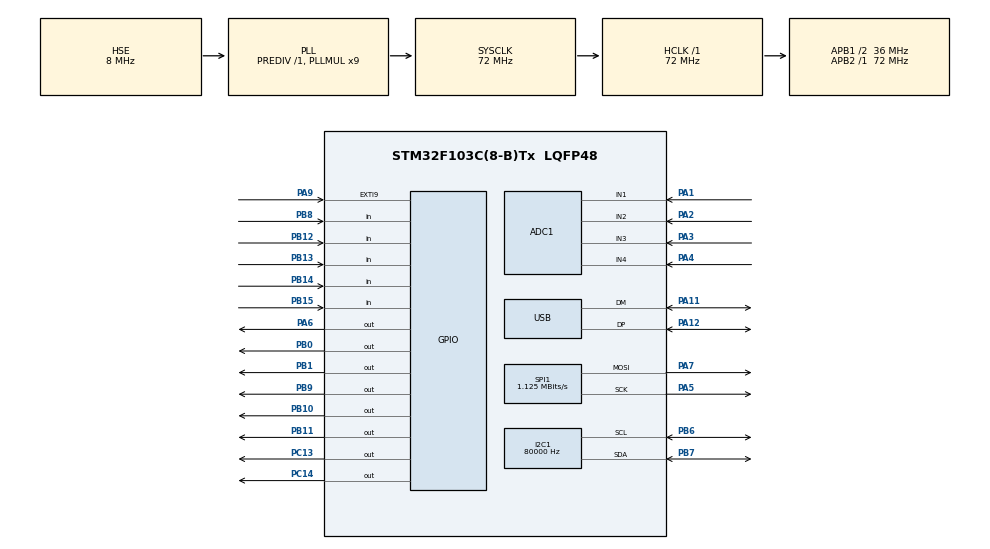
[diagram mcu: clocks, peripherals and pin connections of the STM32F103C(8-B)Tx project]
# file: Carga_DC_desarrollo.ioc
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ADC1.Channel-4\#ChannelRegularConversion=ADC_CHANNEL_1
ADC1.Channel-5\#ChannelRegularConversion=ADC_CHANNEL_2
ADC1.Channel-6\#ChannelRegularConversion=ADC_CHANNEL_3
ADC1.Channel-7\#ChannelRegularConversion=ADC_CHANNEL_4
ADC1.ContinuousConvMode=ENABLE
ADC1.NbrOfConversion=4
ADC1.NbrOfConversionFlag=1
ADC1.Rank-4\#ChannelRegularConversion=1
ADC1.Rank-5\#ChannelRegularConversion=2
ADC1.Rank-6\#ChannelRegularConversion=3
ADC1.Rank-7\#ChannelRegularConversion=4
ADC1.SamplingTime-4\#ChannelRegularConversion=ADC_SAMPLETIME_1CYCLE_5
ADC1.SamplingTime-5\#ChannelRegularConversion=ADC_SAMPLETIME_1CYCLE_5
ADC1.SamplingTime-6\#ChannelRegularConversion=ADC_SAMPLETIME_1CYCLE_5
ADC1.SamplingTime-7\#ChannelRegularConversion=ADC_SAMPLETIME_1CYCLE_5
ADC1.master=1
Dma.ADC1.0.Direction=DMA_PERIPH_TO_MEMORY
Dma.ADC1.0.Instance=DMA1_Channel1
Dma.ADC1.0.MemDataAlignment=DMA_MDATAALIGN_WORD
Dma.ADC1.0.MemInc=DMA_MINC_ENABLE
Dma.ADC1.0.Mode=DMA_CIRCULAR
Dma.ADC1.0.PeriphDataAlignment=DMA_PDATAALIGN_WORD
Dma.ADC1.0.PeriphInc=DMA_PINC_DISABLE
Dma.ADC1.0.Priority=DMA_PRIORITY_LOW
Dma.Request0=ADC1
I2C1.ClockSpeed=80000
Mcu.Family=STM32F1
Mcu.Name=STM32F103C(8-B)Tx
Mcu.Package=LQFP48
NVIC.EXTI9_5_IRQn=true\:0\:0\:false\:false\:true\:true\:true\:true
NVIC.PriorityGroup=NVIC_PRIORITYGROUP_4
NVIC.TIM2_IRQn=true\:0\:0\:false\:false\:true\:true\:true\:true
NVIC.TIM3_IRQn=true\:0\:0\:false\:false\:true\:true\:true\:true
NVIC.USB_LP_CAN1_RX0_IRQn=true\:0\:0\:false\:false\:true\:false\:true\:true
PA1.Signal=ADCx_IN1
PA11.Mode=Device
PA11.Signal=USB_DM
PA12.Mode=Device
PA12.Signal=USB_DP
PA13.Mode=Serial_Wire
PA13.Signal=SYS_JTMS-SWDIO
PA14.Mode=Serial_Wire
PA14.Signal=SYS_JTCK-SWCLK
PA2.Signal=ADCx_IN2
PA3.Signal=ADCx_IN3
PA4.Signal=ADCx_IN4
PA5.Mode=TX_Only_Simplex_Unidirect_Master
PA5.Signal=SPI1_SCK
PA6.Signal=GPIO_Output
PA7.Mode=TX_Only_Simplex_Unidirect_Master
PA7.Signal=SPI1_MOSI
PA9.GPIO_ModeDefaultEXTI=GPIO_MODE_IT_FALLING
PA9.Signal=GPXTI9
PB0.Signal=GPIO_Output
PB1.Signal=GPIO_Output
PB10.Signal=GPIO_Output
PB11.Signal=GPIO_Output
PB12.Signal=GPIO_Input
PB13.Signal=GPIO_Input
PB14.Signal=GPIO_Input
PB15.Signal=GPIO_Input
PB6.Mode=I2C
PB6.Signal=I2C1_SCL
PB7.Mode=I2C
PB7.Signal=I2C1_SDA
PB8.Signal=GPIO_Input
PB9.Signal=GPIO_Output
PC13-TAMPER-RTC.Signal=GPIO_Output
PC14-OSC32_IN.Signal=GPIO_Output
PD0-OSC_IN.Mode=HSE-External-Oscillator
PD0-OSC_IN.Signal=RCC_OSC_IN
PD1-OSC_OUT.Mode=HSE-External-Oscillator
PD1-OSC_OUT.Signal=RCC_OSC_OUT
ProjectManager.HeapSize=0x200
ProjectManager.StackSize=0x400
ProjectManager.TargetToolchain=STM32CubeIDE
RCC.ADCPresc=RCC_ADCPCLK2_DIV8
RCC.AHBFreq_Value=72000000
RCC.APB1CLKDivider=RCC_HCLK_DIV2
RCC.APB1Freq_Value=36000000
RCC.APB1TimFreq_Value=72000000
RCC.APB2Freq_Value=72000000
RCC.APB2TimFreq_Value=72000000
RCC.HCLKFreq_Value=72000000
RCC.PLLMUL=RCC_PLL_MUL9
RCC.PLLSourceVirtual=RCC_PLLSOURCE_HSE
RCC.SYSCLKFreq_VALUE=72000000
RCC.SYSCLKSource=RCC_SYSCLKSOURCE_PLLCLK
RCC.USBFreq_Value=48000000
RCC.USBPrescaler=RCC_USBCLKSOURCE_PLL_DIV1_5
SH.ADCx_IN1.0=ADC1_IN1,IN1
SH.ADCx_IN2.0=ADC1_IN2,IN2
SH.ADCx_IN3.0=ADC1_IN3,IN3
SH.ADCx_IN4.0=ADC1_IN4,IN4
SPI1.BaudRatePrescaler=SPI_BAUDRATEPRESCALER_64
SPI1.CalculateBaudRate=1.125 MBits/s
SPI1.DataSize=SPI_DATASIZE_16BIT
SPI1.Direction=SPI_DIRECTION_2LINES
SPI1.Mode=SPI_MODE_MASTER
SPI1.VirtualType=VM_MASTER
TIM2.AutoReloadPreload=TIM_AUTORELOAD_PRELOAD_ENABLE
TIM2.Period=2999
TIM2.Prescaler=7199
TIM3.AutoReloadPreload=TIM_AUTORELOAD_PRELOAD_ENABLE
TIM3.Period=1499
TIM3.Prescaler=7199
USB_DEVICE.CLASS_NAME_FS=CDC
USB_DEVICE.VirtualMode=Cdc
USB_DEVICE.VirtualModeFS=Cdc_FS
VP_TIM2_VS_ClockSourceINT.Mode=Internal
VP_TIM3_VS_ClockSourceINT.Mode=Internal
VP_USB_DEVICE_VS_USB_DEVICE_CDC_FS.Mode=CDC_FS
board=custom

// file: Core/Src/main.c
/* USER CODE BEGIN Header */
/**
  ******************************************************************************
  * @file           : main.c
  * @brief          : Main program body
  ******************************************************************************
  * @attention
  *
  * Copyright (c) 2023 STMicroelectronics.
  * All rights reserved.
  *
  * This software is licensed under terms that can be found in the LICENSE file
  * in the root directory of this software component.
  * If no LICENSE file comes with this software, it is provided AS-IS.
  *
  ******************************************************************************
  */
/* USER CODE END Header */
#include "main.h"
#include "usb_device.h"

/* USER CODE BEGIN Includes */
#include "stdio.h"
#include "stdlib.h"
#include "string.h"
#include "LCD_I2C.h"
#include "keypad_lib.h"
#include "usbd_cdc_if.h"
/* USER CODE END Includes */

/* USER CODE BEGIN PD */
#define BUFFER_SIZE_input 4
#define TC74_ADDRESS 0x90//direccion og.48 moviendo un bit 90
//
#define N_TRANSISTORES 4
#define I_MAX_x_TRANSISTOR 500 // 500 -> 5000mA
//ctes mediciones
#define FACTOR_ADC_VOLTAGE_mult 12127
#define FACTOR_ADC_VOLTAGE_div 10000
#define OFFSET_ADC_VOLTAGE_low 95
#define FACTOR_ADC_30A_CURRENT_mult 83072//8437
#define FACTOR_ADC_30A_CURRENT_div 100000
#define OFFSET_30A 7
#define FACTOR_ADC_5A_CURRENT_mult 1305
#define FACTOR_ADC_5A_CURRENT_div 10000
#define OFFSET_5A_restar 100//534
//limites de operacion
#define LIM_HAL_SENSOR_5A 3500
#define LIM_inf_Voltage 100	//01.00V
#define LIM_sup_Voltage 5000// 50.00V
#define LIM_inf_Current 20	// 00.20A
#define LIM_sup_Current 2000// 20.00A
#define LIM_sup_Pot 1500 	//150.0W
#define LIM_inf_Res 10 		//00.10 ohm
#define LIM_temp 55
/* USER CODE END PD */

ADC_HandleTypeDef hadc1;
DMA_HandleTypeDef hdma_adc1;

I2C_HandleTypeDef hi2c1;

SPI_HandleTypeDef hspi1;

TIM_HandleTypeDef htim2;
TIM_HandleTypeDef htim3;

/* USER CODE BEGIN PV */

uint32_t current_tim = 0;
uint32_t last_tim = 0;
uint8_t flag_on_off = 0;		//bandera de conectar el dispositivo
uint8_t flag_config = 0;
uint8_t flag_update_display_1_seg = 0;
uint8_t flag_update_loop_control = 0;//
uint8_t flag_error = 0;
uint8_t cont_timer_update = 0;
uint32_t input_adc[4];
uint32_t adc2use[2];
uint8_t buffer_usb[64];
char str[30]="";
char input_keypad = 0;

//char char_as_str[];// = {input_keypad, '\0'};//char mensaje[];
char buffer[20]="input key ";
/* USER CODE END PV */

void SystemClock_Config(void);
static void MX_GPIO_Init(void);
static void MX_DMA_Init(void);
static void MX_ADC1_Init(void);
static void MX_I2C1_Init(void);
static void MX_TIM2_Init(void);
static void MX_SPI1_Init(void);
static void MX_TIM3_Init(void);
/* USER CODE BEGIN PFP */
void agregar_digito(char *buffer, char digito);
void borrar_ultimo_digito(char *buffer);
void display_update_conf(char modo_op,char *dato);
void display_update_stat(char modo_op, char *dato, uint32_t volt);
void display_update_running(char modo_op,uint32_t volt, uint32_t corriente);
void display_update_running_usb(char modo_op,uint32_t volt, uint32_t corriente);
void enviar_spi_dac(uint16_t dato);
void validar_ADC();
void detectar_error(uint32_t voltage, uint32_t current);
void print_error(uint8_t error_id);
void modo_usb();
uint16_t validar_input(char mode, int val);
uint16_t leer_temperatura(void);
uint16_t control_carga(char modo, uint16_t voltage, uint16_t current, uint16_t set_point);
/* USER CODE END PFP */

int main(void)
{

  /* MCU Configuration--------------------------------------------------------*/

  /* Reset of all peripherals, Initializes the Flash interface and the Systick. */
  HAL_Init();

  /* Configure the system clock */
  SystemClock_Config();

  /* Initialize all configured peripherals */
  MX_GPIO_Init();
  MX_DMA_Init();
  MX_ADC1_Init();
  MX_I2C1_Init();
  MX_TIM2_Init();
  MX_SPI1_Init();
  MX_TIM3_Init();
  MX_USB_DEVICE_Init();
  /* USER CODE BEGIN 2 */
  enviar_spi_dac(0);
  keypad_init();
  HAL_Delay(10);
  LCD_I2C_init();

	//esto podria estar encapsulado
  	  LCD_I2C_cmd(LCD_LINEA1);
	  LCD_I2C_write_text("   UTN FRP   ");
	  LCD_I2C_cmd(LCD_LINEA2);
	  LCD_I2C_write_text("   Carga DC   ");
	  LCD_I2C_cmd(LCD_LINEA4);
	  LCD_I2C_write_text("   A.Gotte/A.Jose   ");
	  HAL_Delay(4000);
	  LCD_I2C_cmd(LCD_CLEAR);

  HAL_TIM_Base_Start_IT(&htim2);
  HAL_TIM_Base_Start_IT(&htim3);
  HAL_ADC_Start_DMA(&hadc1, input_adc, 4);//cuelga el programa
  //HAL_ADCEx_Calibration_Start(&hadc1);
  //HAL_ADCEx_Calibration_Start(&hadc2);

	//se deberia hacer un POST

  char modo_carga = 'C';
  char input_valor[5]="";
  //char buffer_val[20]="val:  NNNN [utm]";

  uint8_t cont_digitos_input_val = 0;
  uint8_t flag_update_display = 0;
  uint16_t control_spi = 0;
  uint16_t set_point = 0;
  //uint16_t temperatura_sensor = 0;
  enviar_spi_dac(control_spi);

  /* USER CODE END 2 */

  /* Infinite loop */
  /* USER CODE BEGIN WHILE */
while (1)
{
//update display modo stand by
	  if(flag_update_display_1_seg){
		  display_update_stat(modo_carga,input_valor,adc2use[0]);
		  flag_update_display_1_seg=0;
	  }
//entra a modo usb
	  if(input_keypad=='U'){
		  LCD_I2C_cmd(LCD_CLEAR);
		  sprintf(str, "$USB#\n");
		  memset(buffer_usb, '\0',64);
		  CDC_Transmit_FS((uint8_t*) str, strlen(str));

		  HAL_Delay(500);
		  if(buffer_usb[0]=='$' && buffer_usb[1]=='O' && buffer_usb[2]=='K' && buffer_usb[3]=='#'){//si responde la pc, entra al bucle
			  modo_usb();
		  }
		 input_keypad=0;
	  }
//entra a modo config
	  if(tipo_dato(input_keypad)==2){//tipo_dato()=2 si input es C,P,R
		  //ingresa a la configuracion de modo
		  flag_config=1;

		  while(flag_config){
			  if(tipo_dato(input_keypad)==1 && cont_digitos_input_val<4){//tipo_dato()=1 si input es >=0 y <=9
				  agregar_digito(input_valor, input_keypad);
				  input_keypad=0;
				  cont_digitos_input_val++;
				  flag_update_display=1;
			  }
			  else if(input_keypad=='D'&&cont_digitos_input_val>0){
				  borrar_ultimo_digito(input_valor);
				  input_keypad=0;
				  cont_digitos_input_val--;
				  flag_update_display=1;
			  }
			  else if(input_keypad=='K'){
				  input_keypad=0;
				  //validar parametro ingresado
				  if(validar_input(modo_carga,atoi(input_valor))==1){
					  set_point=atoi(input_valor);
					  flag_config=0;//sale del while y vuelve al super loop
					  flag_update_display_1_seg=1;
				  }
				  else{
					  //display error
					  LCD_I2C_cmd(LCD_CLEAR);
					  LCD_I2C_cmd(LCD_LINEA2);
					  LCD_I2C_write_text("   Configuracion   ");
					  LCD_I2C_cmd(LCD_LINEA3);
					  LCD_I2C_write_text("      Invalida      ");
					  HAL_Delay(3000);
					  flag_update_display=1;
				  }
			  }
			  else if(tipo_dato(input_keypad)==2){
				  modo_carga=input_keypad;//guardar el modo que se selecciono
				  input_keypad=0;
				  //borrar buffer
				  flag_update_display=1;
			  }
		  if(flag_update_display){
			  display_update_conf(modo_carga,input_valor);
			  flag_update_display=0;
		  }
		}//fin while config
	  }//fin if config
// entra a modo running
	  if(flag_on_off){
		  //setting del modo de trabajo
		  //flag_update_display_1_seg=1;
		  while(flag_on_off){
			  if(flag_update_loop_control){
				 control_spi=control_carga(modo_carga,adc2use[0],adc2use[1],set_point);
				 enviar_spi_dac(control_spi);
				 flag_update_loop_control=0;
			  }
			  if(flag_update_display_1_seg){
				  display_update_running(modo_carga,adc2use[0],adc2use[1]);
				  flag_update_display_1_seg=0;
				  }
			  if(flag_error!=0){
				  	flag_on_off=0;
			  		enviar_spi_dac(0);//setear el dac a 0
			  		input_keypad = 0;
			  		print_error(flag_error);
			  		while(flag_error!=0){//wait for 'K'
			  			if(input_keypad=='K'){
			  				flag_error=0;
			  			}
			  		}

			  	}
		  }//fin while flag_on_off
		  //configuracion post carga activa
		  input_keypad=0;
		  control_spi=0;
		  //flag_update_display_1_seg=1;
		  enviar_spi_dac(control_spi);
	  }//fin if flag_on_off

    /* USER CODE END WHILE */

  }
}

void SystemClock_Config(void)
{
  RCC_OscInitTypeDef RCC_OscInitStruct = {0};
  RCC_ClkInitTypeDef RCC_ClkInitStruct = {0};
  RCC_PeriphCLKInitTypeDef PeriphClkInit = {0};

  /** Initializes the RCC Oscillators according to the specified parameters
  * in the RCC_OscInitTypeDef structure.
  */
  RCC_OscInitStruct.OscillatorType = RCC_OSCILLATORTYPE_HSE;
  RCC_OscInitStruct.HSEState = RCC_HSE_ON;
  RCC_OscInitStruct.HSEPredivValue = RCC_HSE_PREDIV_DIV1;
  RCC_OscInitStruct.HSIState = RCC_HSI_ON;
  RCC_OscInitStruct.PLL.PLLState = RCC_PLL_ON;
  RCC_OscInitStruct.PLL.PLLSource = RCC_PLLSOURCE_HSE;
  RCC_OscInitStruct.PLL.PLLMUL = RCC_PLL_MUL9;
  if (HAL_RCC_OscConfig(&RCC_OscInitStruct) != HAL_OK)
  {
    Error_Handler();
  }

  /** Initializes the CPU, AHB and APB buses clocks
  */
  RCC_ClkInitStruct.ClockType = RCC_CLOCKTYPE_HCLK|RCC_CLOCKTYPE_SYSCLK
                              |RCC_CLOCKTYPE_PCLK1|RCC_CLOCKTYPE_PCLK2;
  RCC_ClkInitStruct.SYSCLKSource = RCC_SYSCLKSOURCE_PLLCLK;
  RCC_ClkInitStruct.AHBCLKDivider = RCC_SYSCLK_DIV1;
  RCC_ClkInitStruct.APB1CLKDivider = RCC_HCLK_DIV2;
  RCC_ClkInitStruct.APB2CLKDivider = RCC_HCLK_DIV1;

  if (HAL_RCC_ClockConfig(&RCC_ClkInitStruct, FLASH_LATENCY_2) != HAL_OK)
  {
    Error_Handler();
  }
  PeriphClkInit.PeriphClockSelection = RCC_PERIPHCLK_ADC|RCC_PERIPHCLK_USB;
  PeriphClkInit.AdcClockSelection = RCC_ADCPCLK2_DIV8;
  PeriphClkInit.UsbClockSelection = RCC_USBCLKSOURCE_PLL_DIV1_5;
  if (HAL_RCCEx_PeriphCLKConfig(&PeriphClkInit) != HAL_OK)
  {
    Error_Handler();
  }
}

static void MX_ADC1_Init(void)
{

  ADC_ChannelConfTypeDef sConfig = {0};

  /** Common config
  */
  hadc1.Instance = ADC1;
  hadc1.Init.ScanConvMode = ADC_SCAN_ENABLE;
  hadc1.Init.ContinuousConvMode = ENABLE;
  hadc1.Init.DiscontinuousConvMode = DISABLE;
  hadc1.Init.ExternalTrigConv = ADC_SOFTWARE_START;
  hadc1.Init.DataAlign = ADC_DATAALIGN_RIGHT;
  hadc1.Init.NbrOfConversion = 4;
  if (HAL_ADC_Init(&hadc1) != HAL_OK)
  {
    Error_Handler();
  }

  /** Configure Regular Channel
  */
  sConfig.Channel = ADC_CHANNEL_1;
  sConfig.Rank = ADC_REGULAR_RANK_1;
  sConfig.SamplingTime = ADC_SAMPLETIME_1CYCLE_5;
  if (HAL_ADC_ConfigChannel(&hadc1, &sConfig) != HAL_OK)
  {
    Error_Handler();
  }

  /** Configure Regular Channel
  */
  sConfig.Channel = ADC_CHANNEL_2;
  sConfig.Rank = ADC_REGULAR_RANK_2;
  if (HAL_ADC_ConfigChannel(&hadc1, &sConfig) != HAL_OK)
  {
    Error_Handler();
  }

  /** Configure Regular Channel
  */
  sConfig.Channel = ADC_CHANNEL_3;
  sConfig.Rank = ADC_REGULAR_RANK_3;
  if (HAL_ADC_ConfigChannel(&hadc1, &sConfig) != HAL_OK)
  {
    Error_Handler();
  }

  /** Configure Regular Channel
  */
  sConfig.Channel = ADC_CHANNEL_4;
  sConfig.Rank = ADC_REGULAR_RANK_4;
  if (HAL_ADC_ConfigChannel(&hadc1, &sConfig) != HAL_OK)
  {
    Error_Handler();
  }

}

static void MX_I2C1_Init(void)
{

  hi2c1.Instance = I2C1;
  hi2c1.Init.ClockSpeed = 80000;
  hi2c1.Init.DutyCycle = I2C_DUTYCYCLE_2;
  hi2c1.Init.OwnAddress1 = 0;
  hi2c1.Init.AddressingMode = I2C_ADDRESSINGMODE_7BIT;
  hi2c1.Init.DualAddressMode = I2C_DUALADDRESS_DISABLE;
  hi2c1.Init.OwnAddress2 = 0;
  hi2c1.Init.GeneralCallMode = I2C_GENERALCALL_DISABLE;
  hi2c1.Init.NoStretchMode = I2C_NOSTRETCH_DISABLE;
  if (HAL_I2C_Init(&hi2c1) != HAL_OK)
  {
    Error_Handler();
  }

}

static void MX_SPI1_Init(void)
{

  /* SPI1 parameter configuration*/
  hspi1.Instance = SPI1;
  hspi1.Init.Mode = SPI_MODE_MASTER;
  hspi1.Init.Direction = SPI_DIRECTION_2LINES;
  hspi1.Init.DataSize = SPI_DATASIZE_16BIT;
  hspi1.Init.CLKPolarity = SPI_POLARITY_LOW;
  hspi1.Init.CLKPhase = SPI_PHASE_1EDGE;
  hspi1.Init.NSS = SPI_NSS_SOFT;
  hspi1.Init.BaudRatePrescaler = SPI_BAUDRATEPRESCALER_64;
  hspi1.Init.FirstBit = SPI_FIRSTBIT_MSB;
  hspi1.Init.TIMode = SPI_TIMODE_DISABLE;
  hspi1.Init.CRCCalculation = SPI_CRCCALCULATION_DISABLE;
  hspi1.Init.CRCPolynomial = 10;
  if (HAL_SPI_Init(&hspi1) != HAL_OK)
  {
    Error_Handler();
  }

}

static void MX_TIM2_Init(void)
{

  TIM_ClockConfigTypeDef sClockSourceConfig = {0};
  TIM_MasterConfigTypeDef sMasterConfig = {0};

  htim2.Instance = TIM2;
  htim2.Init.Prescaler = 7199;
  htim2.Init.CounterMode = TIM_COUNTERMODE_UP;
  htim2.Init.Period = 2999;
  htim2.Init.ClockDivision = TIM_CLOCKDIVISION_DIV1;
  htim2.Init.AutoReloadPreload = TIM_AUTORELOAD_PRELOAD_ENABLE;
  if (HAL_TIM_Base_Init(&htim2) != HAL_OK)
  {
    Error_Handler();
  }
  sClockSourceConfig.ClockSource = TIM_CLOCKSOURCE_INTERNAL;
  if (HAL_TIM_ConfigClockSource(&htim2, &sClockSourceConfig) != HAL_OK)
  {
    Error_Handler();
  }
  sMasterConfig.MasterOutputTrigger = TIM_TRGO_RESET;
  sMasterConfig.MasterSlaveMode = TIM_MASTERSLAVEMODE_DISABLE;
  if (HAL_TIMEx_MasterConfigSynchronization(&htim2, &sMasterConfig) != HAL_OK)
  {
    Error_Handler();
  }

}

static void MX_TIM3_Init(void)
{

  TIM_ClockConfigTypeDef sClockSourceConfig = {0};
  TIM_MasterConfigTypeDef sMasterConfig = {0};

  htim3.Instance = TIM3;
  htim3.Init.Prescaler = 7199;
  htim3.Init.CounterMode = TIM_COUNTERMODE_UP;
  htim3.Init.Period = 1499;
  htim3.Init.ClockDivision = TIM_CLOCKDIVISION_DIV1;
  htim3.Init.AutoReloadPreload = TIM_AUTORELOAD_PRELOAD_ENABLE;
  if (HAL_TIM_Base_Init(&htim3) != HAL_OK)
  {
    Error_Handler();
  }
  sClockSourceConfig.ClockSource = TIM_CLOCKSOURCE_INTERNAL;
  if (HAL_TIM_ConfigClockSource(&htim3, &sClockSourceConfig) != HAL_OK)
  {
    Error_Handler();
  }
  sMasterConfig.MasterOutputTrigger = TIM_TRGO_RESET;
  sMasterConfig.MasterSlaveMode = TIM_MASTERSLAVEMODE_DISABLE;
  if (HAL_TIMEx_MasterConfigSynchronization(&htim3, &sMasterConfig) != HAL_OK)
  {
    Error_Handler();
  }

}

static void MX_DMA_Init(void)
{

  /* DMA controller clock enable */
  __HAL_RCC_DMA1_CLK_ENABLE();

}

static void MX_GPIO_Init(void)
{
  GPIO_InitTypeDef GPIO_InitStruct = {0};

  /* GPIO Ports Clock Enable */
  __HAL_RCC_GPIOC_CLK_ENABLE();
  __HAL_RCC_GPIOD_CLK_ENABLE();
  __HAL_RCC_GPIOA_CLK_ENABLE();
  __HAL_RCC_GPIOB_CLK_ENABLE();

  /*Configure GPIO pin Output Level */
  HAL_GPIO_WritePin(GPIOC, GPIO_PIN_13|GPIO_PIN_14, GPIO_PIN_RESET);

  /*Configure GPIO pin Output Level */
  HAL_GPIO_WritePin(GPIOA, GPIO_PIN_6, GPIO_PIN_RESET);

  /*Configure GPIO pin Output Level */
  HAL_GPIO_WritePin(GPIOB, GPIO_PIN_0|GPIO_PIN_1|GPIO_PIN_10|GPIO_PIN_11
                          |GPIO_PIN_9, GPIO_PIN_RESET);

  /*Configure GPIO pins : PC13 PC14 */
  GPIO_InitStruct.Pin = GPIO_PIN_13|GPIO_PIN_14;
  GPIO_InitStruct.Mode = GPIO_MODE_OUTPUT_PP;
  GPIO_InitStruct.Pull = GPIO_NOPULL;
  GPIO_InitStruct.Speed = GPIO_SPEED_FREQ_LOW;
  HAL_GPIO_Init(GPIOC, &GPIO_InitStruct);

  /*Configure GPIO pin : PA6 */
  GPIO_InitStruct.Pin = GPIO_PIN_6;
  GPIO_InitStruct.Mode = GPIO_MODE_OUTPUT_PP;
  GPIO_InitStruct.Pull = GPIO_NOPULL;
  GPIO_InitStruct.Speed = GPIO_SPEED_FREQ_LOW;
  HAL_GPIO_Init(GPIOA, &GPIO_InitStruct);

  /*Configure GPIO pins : PB0 PB1 PB10 PB11
                           PB9 */
  GPIO_InitStruct.Pin = GPIO_PIN_0|GPIO_PIN_1|GPIO_PIN_10|GPIO_PIN_11
                          |GPIO_PIN_9;
  GPIO_InitStruct.Mode = GPIO_MODE_OUTPUT_PP;
  GPIO_InitStruct.Pull = GPIO_NOPULL;
  GPIO_InitStruct.Speed = GPIO_SPEED_FREQ_LOW;
  HAL_GPIO_Init(GPIOB, &GPIO_InitStruct);

  /*Configure GPIO pins : PB12 PB13 PB14 PB15
                           PB8 */
  GPIO_InitStruct.Pin = GPIO_PIN_12|GPIO_PIN_13|GPIO_PIN_14|GPIO_PIN_15
                          |GPIO_PIN_8;
  GPIO_InitStruct.Mode = GPIO_MODE_INPUT;
  GPIO_InitStruct.Pull = GPIO_NOPULL;
  HAL_GPIO_Init(GPIOB, &GPIO_InitStruct);

  /*Configure GPIO pin : PA9 */
  GPIO_InitStruct.Pin = GPIO_PIN_9;
  GPIO_InitStruct.Mode = GPIO_MODE_IT_FALLING;
  GPIO_InitStruct.Pull = GPIO_NOPULL;
  HAL_GPIO_Init(GPIOA, &GPIO_InitStruct);

  /* EXTI interrupt init*/
  HAL_NVIC_SetPriority(EXTI9_5_IRQn, 0, 0);
  HAL_NVIC_EnableIRQ(EXTI9_5_IRQn);

}

/* USER CODE BEGIN 4 */
//definiciones de los callback y funciones
// External Interrupt ISR Handler CallBackFun
void HAL_GPIO_EXTI_Callback(uint16_t GPIO_Pin)
{
     current_tim = HAL_GetTick();
     if(GPIO_Pin == GPIO_PIN_9 && ((current_tim-last_tim)>1000)) // INT Source is pin A9
    {

		if(!flag_on_off && !flag_config && (adc2use[0]>=LIM_inf_Voltage)){
			flag_on_off=1;// conecta la carga
			//HAL_GPIO_WritePin(GPIOC, GPIO_PIN_14, GPIO_PIN_SET);
			//HAL_GPIO_WritePin(GPIOB, GPIO_PIN_9, GPIO_PIN_SET);
			//flag_update_loop_control=1;
			//flag_update_display_1_seg=1;
		}
		else{
			flag_on_off=0;// desconecta la carga
			//flag_update_display_1_seg=1;//
			//HAL_GPIO_WritePin(GPIOC, GPIO_PIN_14, GPIO_PIN_RESET);
			//HAL_GPIO_WritePin(GPIOB, GPIO_PIN_9, GPIO_PIN_RESET);
			}
	last_tim=current_tim;

    }
}

void HAL_TIM_PeriodElapsedCallback(TIM_HandleTypeDef *htim)
{
 if(htim->Instance == TIM2){
	 HAL_GPIO_TogglePin(GPIOC, GPIO_PIN_13);
	 input_keypad=keypad_scan();//condicionar la lectura a que no este en modo activo la carga
	 //flag_update_loop_control=1; //movemos al timer3

	 if(cont_timer_update>=5){//cada segundo y medio actualiza el display

		 flag_update_display_1_seg=1;//update nombre
		 cont_timer_update=0;
		 //temperatura_sensor=leer_temperatura();
	 }
	 else cont_timer_update++;
 }
 if(htim->Instance == TIM3){
 	 //disparar control de la carga
	 validar_ADC();
	 flag_update_loop_control=1; //flag ciclo de control
  }
}

void agregar_digito(char *buffer, char digito) {
    size_t longitud = strlen(buffer);

    if (longitud < BUFFER_SIZE_input) {
        buffer[longitud] = digito;
        buffer[longitud + 1] = '\0';
    }
}

void borrar_ultimo_digito(char *buffer) {
    size_t longitud = strlen(buffer);

    if (longitud > 0) {
        buffer[longitud - 1] = '\0';
    }
}

uint16_t leer_temperatura(){
	uint8_t dato[1];
	 uint16_t temperature_milicelsius=0;
	 HAL_I2C_Master_Transmit(&hi2c1, TC74_ADDRESS, (uint8_t *)dato, 1, 100);//<< 1
	 while (HAL_I2C_GetState(&hi2c1) != HAL_I2C_STATE_READY);
	 //HAL_I2C_Master_Receive(I2C_HandleTypeDef *hi2c, uint16_t DevAddress, uint8_t *pData, uint16_t Size, uint32_t Timeout)
	 HAL_I2C_Master_Receive(&hi2c1, TC74_ADDRESS, (uint8_t *)dato, 1, 100);
	 while (HAL_I2C_GetState(&hi2c1) != HAL_I2C_STATE_READY);
	 temperature_milicelsius = dato[0];  //
	if(temperature_milicelsius >= 0x80){
		temperature_milicelsius=0;
	}
	 return temperature_milicelsius;
}

void enviar_spi_dac(uint16_t dato){
	if(dato<=0x0FFF){
		uint16_t send = 0x3000;
		send = send|dato;
		HAL_GPIO_WritePin(GPIOA, GPIO_PIN_6, GPIO_PIN_RESET);
		HAL_SPI_Transmit(&hspi1, &send, 2, 10);
		while(HAL_SPI_GetState(&hspi1)!=HAL_SPI_STATE_READY);
		HAL_GPIO_WritePin(GPIOA, GPIO_PIN_6, GPIO_PIN_SET);

		return;
	}
}
uint16_t validar_input(char mode, int val){
	if(mode=='C' && val<LIM_inf_Current)
		return 0;
	else if(mode=='C' && val>LIM_sup_Current)
		return 0;
	else if(mode=='P' && val>LIM_sup_Pot)
		return 0;
	else if(mode=='R' && val<LIM_inf_Res)
		return 0;
	else return 1;
}

void validar_ADC(){
	//valida que adc de corriente usar o si el sense esta activo
	//corriente
	if(input_adc[2]>LIM_HAL_SENSOR_5A){
		adc2use[1]=input_adc[3]*FACTOR_ADC_30A_CURRENT_mult;
		adc2use[1]=adc2use[1]/FACTOR_ADC_30A_CURRENT_div;
		adc2use[1]=adc2use[1]+OFFSET_30A;
	}else{
		adc2use[1]=input_adc[2]+OFFSET_5A_restar;
		adc2use[1]=adc2use[1]*FACTOR_ADC_5A_CURRENT_mult;
		adc2use[1]=adc2use[1]/FACTOR_ADC_5A_CURRENT_div;
	}
	//tension
	if(HAL_GPIO_ReadPin(GPIOB,GPIO_PIN_8)==GPIO_PIN_SET){
		adc2use[0]=input_adc[0]*FACTOR_ADC_VOLTAGE_mult;//inputadc[0]marron linea baja impedancia
		adc2use[0]=adc2use[0]/FACTOR_ADC_VOLTAGE_div;
		adc2use[0]=adc2use[0]+OFFSET_ADC_VOLTAGE_low;
	}else{
		//adc2use[0]=input_adc[0]*FACTOR_ADC_VOLTAGE_mult;//quitar linea para usar sense
		adc2use[0]=input_adc[1]*FACTOR_ADC_VOLTAGE_mult;
		adc2use[0]=adc2use[0]/FACTOR_ADC_VOLTAGE_div;
		adc2use[0]=adc2use[0]+OFFSET_ADC_VOLTAGE_low;
	}
	if(flag_on_off)	detectar_error(adc2use[0],adc2use[1]);
}
void detectar_error(uint32_t voltage, uint32_t current){
uint32_t pot = 0;
pot =voltage*current;
pot = pot/1000;
	if(voltage<LIM_inf_Voltage)
		flag_error=1;
	else if(voltage>LIM_sup_Voltage)
		flag_error=2;
	else if(current<LIM_inf_Current)
		flag_error=3;
	else if(current>LIM_sup_Current)
		flag_error=4;
	else if(pot>LIM_sup_Pot)
		flag_error=5;
	//sumar error de temp
}
void print_error(uint8_t error_id){
	LCD_I2C_cmd(LCD_CLEAR);//cambiar display
	LCD_I2C_cmd(LCD_LINEA1);
	LCD_I2C_write_text("  Error electrico  ");
	LCD_I2C_cmd(LCD_LINEA2);
	switch(error_id){
	case 1:
		LCD_I2C_write_text("  Caida de Tension  ");
		break;
	case 2:
		LCD_I2C_write_text("   Sobre Tension   ");
		break;
	case 3:
		LCD_I2C_write_text(" Caida de Corriente ");
		break;
	case 4:
		LCD_I2C_write_text("  Sobre Corriente  ");
		break;
	case 5:
		LCD_I2C_write_text("   Sobre Potencia   ");
		break;
	case 6:
		LCD_I2C_write_text(" Sobre Temperatura ");
		break;
	default:
		LCD_I2C_write_text("        404        ");
	}

	LCD_I2C_cmd(LCD_LINEA4);
	LCD_I2C_write_text("  Press enter  ");
}

void display_update_conf(char modo_op, char *dato){

	char char_as_str[] = {modo_op, '\0'};//encapsular, funcion de uso recurrente
	char buffer_fun[20]="";//{"Modo C",char_as_str};
	char buffer_dato[20]="";
	snprintf(buffer_fun, sizeof(buffer_fun), "Config Modo C%s:", char_as_str);

	LCD_I2C_cmd(LCD_CLEAR);
	LCD_I2C_cmd(LCD_LINEA1);
	LCD_I2C_write_text(buffer_fun);
	LCD_I2C_cmd(LCD_LINEA3);
	switch(modo_op){//print del modo

	case 'C':
		snprintf(buffer_dato, sizeof(buffer_dato), "Current: %s0[mA]", dato);
		break;
	case 'V':
		snprintf(buffer_dato, sizeof(buffer_dato), "Voltage: %s0[mV]", dato);
		break;
	case 'R':
		snprintf(buffer_dato, sizeof(buffer_dato), "Resist: %s0[mOhm]", dato);
		break;
	case 'P':
		snprintf(buffer_dato, sizeof(buffer_dato), "Power.: %s00[mW]", dato);
		break;
	default:
		snprintf(buffer_dato, sizeof(buffer_dato), "Error: case def");
	}
	LCD_I2C_write_text(buffer_dato);
}

void display_update_stat(char modo_op, char *dato,uint32_t volt){
	char char_as_str[] = {modo_op, '\0'};//encapsular, funcion de uso recurrente
	char buffer_fun[20]="";//{"Modo C",char_as_str};
	char buffer_dato[20]="";
	//uint32_t volt_convertido = 0;
	//volt_convertido=volt*FACTOR_ADC_VOLTAGE_mult;//122;
	//volt_convertido=volt_convertido/FACTOR_ADC_VOLTAGE_div;//100;
	int dato_num = atoi(dato);
	snprintf(buffer_fun, sizeof(buffer_fun), "Modo C%s:", char_as_str);

	LCD_I2C_cmd(LCD_CLEAR);
	LCD_I2C_cmd(LCD_LINEA1);
	LCD_I2C_write_text(buffer_fun);

	switch(modo_op){//print del modo

	case 'C':
		LCD_I2C_cmd(LCD_LINEA2);
		if(volt<LIM_inf_Voltage)
			snprintf(buffer_dato, sizeof(buffer_dato), "Voltage: Under Lim");//
		else
			snprintf(buffer_dato, sizeof(buffer_dato), "Voltage: %d.%02d [V]", (int)volt/100,(int)volt%100);//
		LCD_I2C_write_text(buffer_dato);
		LCD_I2C_cmd(LCD_LINEA3);
		snprintf(buffer_dato, sizeof(buffer_dato), "Current: %s0 [mA]", dato);
		LCD_I2C_write_text(buffer_dato);
		LCD_I2C_cmd(LCD_LINEA4);
		LCD_I2C_write_text("Power: 0[W]");

		break;
	/*case 'V':
		LCD_I2C_cmd(LCD_LINEA2);
		snprintf(buffer_dato, sizeof(buffer_dato), "Voltage: %s0 [mV]", dato);
		LCD_I2C_write_text(buffer_dato);
		LCD_I2C_cmd(LCD_LINEA3);
		LCD_I2C_write_text("Current: 0[mA]");
		LCD_I2C_cmd(LCD_LINEA4);
		LCD_I2C_write_text("Power: 0[mW]");
		break;*/
	case 'R':
		LCD_I2C_cmd(LCD_CLEAR);
		LCD_I2C_cmd(LCD_LINEA1);
		snprintf(buffer_dato, sizeof(buffer_dato), "Res: %d.%02d[ohm]", (int)dato_num/100,(int)dato_num%100);
		LCD_I2C_write_text(buffer_dato);
		LCD_I2C_cmd(LCD_LINEA2);
		if(volt<LIM_inf_Voltage)
			snprintf(buffer_dato, sizeof(buffer_dato), "Voltage: Under Lim");//
		else
			snprintf(buffer_dato, sizeof(buffer_dato), "Voltage: %d.%02d [V]", (int)volt/100,(int)volt%100);
		LCD_I2C_write_text(buffer_dato);
		LCD_I2C_cmd(LCD_LINEA3);
		LCD_I2C_write_text("Current: 0[mA]");
		LCD_I2C_cmd(LCD_LINEA4);
		LCD_I2C_write_text("Power: 0[mW]");
		break;
	case 'P':
		LCD_I2C_cmd(LCD_LINEA2);
		if(volt<LIM_inf_Voltage)
			snprintf(buffer_dato, sizeof(buffer_dato), "Voltage: Under Lim");//
		else
			snprintf(buffer_dato, sizeof(buffer_dato), "Voltage: %d.%02d [V]", (int)volt/100,(int)volt%100);
		LCD_I2C_write_text(buffer_dato);
		LCD_I2C_cmd(LCD_LINEA3);
		LCD_I2C_write_text("Current: 0[mA]");
		LCD_I2C_cmd(LCD_LINEA4);
		snprintf(buffer_dato, sizeof(buffer_dato), "Power: %d.%01d [W]", (int)dato_num/10,(int)dato_num%10);
		LCD_I2C_write_text(buffer_dato);

		break;
	default:
		LCD_I2C_cmd(LCD_LINEA1);
		snprintf(buffer_dato, sizeof(buffer_dato), "Error: monit");
	}

}

void modo_usb(){
HAL_GPIO_WritePin(GPIOC, GPIO_PIN_14, GPIO_PIN_SET);
HAL_GPIO_WritePin(GPIOB, GPIO_PIN_9, GPIO_PIN_SET);
uint16_t control_spi = 0;

int valor = 0;
char mode = 'C';
char str_aux[30]="";
uint8_t flag_USB = 1;
input_keypad=0;
	while(flag_USB==1){
  //lectura de datos USB
		if (buffer_usb[0]=='$' && buffer_usb[1]=='C' && buffer_usb[9]=='#') {//comando config
			sprintf(str, "$D,%c,%04d,%04d,%04d", mode,valor,(int)adc2use[0],(int)adc2use[1]);
			mode=buffer_usb[3];
			sprintf(str_aux, "%c%c%c%c",buffer_usb[5],buffer_usb[6],buffer_usb[7],buffer_usb[8]);
			valor=atoi(str_aux);
			CDC_Transmit_FS((uint8_t*) str, strlen(str));
			memset(buffer_usb, '\0',64);

		}else if(buffer_usb[0]=='$' && buffer_usb[1]=='R' && buffer_usb[2]=='e' && buffer_usb[3]=='q'){//comando request
			sprintf(str, "$D,%c,%04d,%04d,%04d", mode,valor,(int)adc2use[0],(int)adc2use[1]);
			CDC_Transmit_FS((uint8_t*) str, strlen(str));
			memset(buffer_usb, '\0',64);
		}else if(buffer_usb[0]=='$' && buffer_usb[1]=='D'){//fin modo usb
			flag_USB=0;

		}
  //lectura fin modo usb
		if(tipo_dato(input_keypad)==3){
			flag_USB=0;
			sprintf(str, "$END");
			CDC_Transmit_FS((uint8_t*) str, strlen(str));
			memset(buffer_usb, '\0',64);
			//enviar fin usb/ready
		}
  //call a funciones de control y display
		if(flag_update_loop_control){

			 control_spi=control_carga(mode,adc2use[0],adc2use[1],(uint16_t)valor);
			 enviar_spi_dac(control_spi);
			 flag_update_loop_control=0;

		  }
		  if(flag_update_display_1_seg){
			  display_update_running_usb(mode,adc2use[0],adc2use[1]);
			  flag_update_display_1_seg=0;
			  }
	}//fin while
	  input_keypad=0;
	  control_spi=0;
	  enviar_spi_dac(control_spi);
	HAL_GPIO_WritePin(GPIOC, GPIO_PIN_14, GPIO_PIN_RESET);//led
	HAL_GPIO_WritePin(GPIOB, GPIO_PIN_9, GPIO_PIN_RESET);//cooler
}//fin modo usb

void display_update_running(char modo_op,uint32_t volt, uint32_t corriente){
	char char_as_str[] = {modo_op, '\0'};//encapsular, funcion de uso recurrente
	char buffer_fun[20]="";//{"Modo C",char_as_str};
	char buffer_dato[20]="";

	uint32_t potencia =0;
	uint32_t resistencia =0;

	potencia = volt*corriente;
	potencia=potencia/1000;
	resistencia=volt*100;
	resistencia=resistencia/corriente;

	LCD_I2C_cmd(LCD_CLEAR);
	if(modo_op == 'R'){
		LCD_I2C_cmd(LCD_LINEA1);
		snprintf(buffer_dato, sizeof(buffer_dato), "Res: %d.%02d[ohm]", (int)resistencia/100,(int)resistencia%100);
		LCD_I2C_write_text(buffer_dato);
	}
	else{
		snprintf(buffer_fun, sizeof(buffer_fun), "Running Modo C%s:", char_as_str);
		LCD_I2C_cmd(LCD_LINEA1);
		LCD_I2C_write_text(buffer_fun);
	}
	LCD_I2C_cmd(LCD_LINEA2);
	snprintf(buffer_dato, sizeof(buffer_dato), "Voltage: %d.%02d[V]",  (int)volt/100,(int)volt%100);//
	LCD_I2C_write_text(buffer_dato);
	LCD_I2C_cmd(LCD_LINEA3);
	snprintf(buffer_dato, sizeof(buffer_dato), "Current: %d.%02d[A]", (int)corriente/100,(int)corriente%100);//
	LCD_I2C_write_text(buffer_dato);
	LCD_I2C_cmd(LCD_LINEA4);
	snprintf(buffer_dato, sizeof(buffer_dato), "Pot: %d.%d[W]", (int)potencia/10,(int)potencia%10);//
	LCD_I2C_write_text(buffer_dato);
}

void display_update_running_usb(char modo_op,uint32_t volt, uint32_t corriente){
	char char_as_str[] = {modo_op, '\0'};//encapsular, funcion de uso recurrente
	char buffer_fun[20]="";//{"Modo C",char_as_str};
	char buffer_dato[20]="";

	uint32_t potencia =0;
	uint32_t resistencia =0;

	potencia = volt*corriente;
	potencia=potencia/1000;
	resistencia=volt*100;
	resistencia=resistencia/corriente;

	LCD_I2C_cmd(LCD_CLEAR);

	snprintf(buffer_fun, sizeof(buffer_fun), "USB Modo C%s:", char_as_str);
	LCD_I2C_cmd(LCD_LINEA1);
	LCD_I2C_write_text(buffer_fun);

	LCD_I2C_cmd(LCD_LINEA2);
	snprintf(buffer_dato, sizeof(buffer_dato), "Voltage: %d.%02d [V]",  (int)volt/100,(int)volt%100);//
	LCD_I2C_write_text(buffer_dato);
	LCD_I2C_cmd(LCD_LINEA3);
	snprintf(buffer_dato, sizeof(buffer_dato), "Current: %d.%02d [A]", (int)corriente/100,(int)corriente%100);//
	LCD_I2C_write_text(buffer_dato);
	LCD_I2C_cmd(LCD_LINEA4);
	if(modo_op == 'R'){
		snprintf(buffer_dato, sizeof(buffer_dato), "Res: %d.%02d[ohm]", (int)resistencia/100,(int)resistencia%100);
		LCD_I2C_write_text(buffer_dato);
	}else{
		snprintf(buffer_dato, sizeof(buffer_dato), "Pot: %d.%d [W]", (int)potencia/10,(int)potencia%10);//
		LCD_I2C_write_text(buffer_dato);
	}

}
uint16_t control_carga(char modo, uint16_t voltage, uint16_t current, uint16_t set_point){
	uint32_t calculo = 0;
	uint16_t DAC_nuevo_valor = 0;

	switch(modo){
	case 'C'://seteo directo
		calculo = set_point * 4095;//dac resol
		calculo = calculo /N_TRANSISTORES; //div num MOSFET
		calculo = calculo /I_MAX_x_TRANSISTOR;//div corriente max por cada mosfet 250->2500 mA
		break;
	case 'V':
		//rev
		calculo = 0;
		break;
	case 'P':
		calculo = set_point * 1000;// agregamos ceros para que se alinee la coma y el resultado sea con las cifras correspondientes
		calculo=calculo/voltage;//P/V=I//1500000/1440
		calculo = calculo * 4095;//dac resol
		calculo = calculo /N_TRANSISTORES; //div num MOSFET
		calculo = calculo /I_MAX_x_TRANSISTOR;//div corriente max por cada mosfet 250->2500 mA
		break;
	case 'R':
		calculo=voltage*100;//ceros para acomodar la coma
		calculo=calculo/set_point;//por ley de ohm
		calculo = calculo * 4095;//dac resol
		calculo = calculo /N_TRANSISTORES; //div num MOSFET
		calculo = calculo /I_MAX_x_TRANSISTOR;//div corriente max por cada mosfet 250->2500 mA
		break;
	default:
		calculo=0;

	}
	DAC_nuevo_valor=(uint16_t)calculo;
	return DAC_nuevo_valor;
}

/* USER CODE END 4 */

void Error_Handler(void)
{
  __disable_irq();
  while (1)
  {
  }
}
